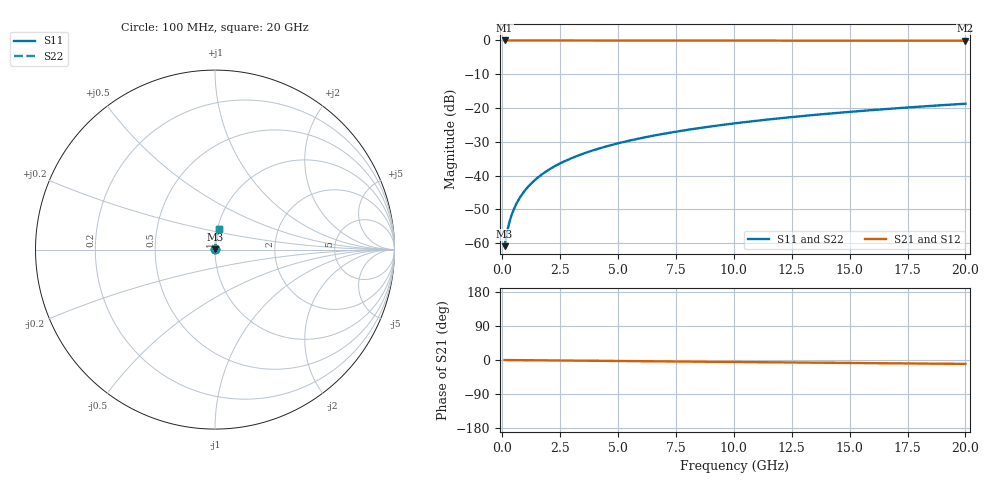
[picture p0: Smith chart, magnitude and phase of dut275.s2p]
! Touchstone file exported from HFSS 2026.1.0
!  File:  C:/ffzhzh/LocalFiles/Ansys_Project_Files/temp_train_TMRDL_275_1782985243_42984.aedt
!  Generated:  05:41:56 PM Jul  2, 2026
!  Design:  TMRDL
!  Project:  temp_train_TMRDL_275_1782985243_42984
! Variables:
!  h_bsmrdl = 2um
!  h_ox = 20um
!  h_rdl = 5um
!  h_sub = 80um
!  h_tmrdl = 4.46um
!  h_tsv = 80um
!  h_via = 3um
!  l_bsmrdl = 300um
!  l_sub = 507.86um
!  l_tmrdl = 107.86um
!  m_sub = 200um
!  pitch = 46.78um
!  r_tsv = 6um
!  s_tmrdl = 10um
!  w_bsmrdl = 18um
!  w_sub = 500um
!  w_tmrdl = 17.91um
!  x_tsv_center1 = 116.815um
!  x_tsv_center2 = 434.815um
!  x_tsv_center3 = 560.585um
!  x_tsv_center4 = 878.585um
!  x_tsv_center5 = 1004.355um
!  x_tsv_center6 = 1322.355um
# GHz S MA R 50.000000
! Terminal data exported
! Port[1] = TM_RDL1_1_T1
! Port[2] = TM_RDL1_1_T2
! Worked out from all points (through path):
!   200 points, 100 MHz to 20 GHz, reference 50 ohm
!   highest |S21| = -0.01 dB at 100 MHz (marker M1); lowest = -0.1 dB at 20 GHz (marker M2)
!   group delay of S21, straight-line fit = 1.43 ps
!   lowest |S11| = -60.8 dB at 100 MHz (marker M3), VSWR 1.00, Z = 50.1 + j0.0646 ohm
!   |S11| at or under -10 dB: start of sweep to end of sweep
!   |S22| runs from -60.8 to -18.7 dB; largest |S21 - S12| = 2.3e-15
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0.1  0.000907 45.3  0.9994 -0.1  0.9994 -0.1  0.000907 45.3
! Gamma 0 0 0 0
! Port Impedance 50 0 50 0
0.2  0.00144 62.5  0.9993 -0.1  0.9993 -0.1  0.00144 62.5
0.3  0.002018 69.9  0.9993 -0.2  0.9993 -0.2  0.002018 69.9
0.4  0.002605 74.0  0.9993 -0.2  0.9993 -0.2  0.002605 74.0
0.5  0.003196 76.5  0.9993 -0.3  0.9993 -0.3  0.003196 76.5
0.6  0.003789 78.4  0.9992 -0.3  0.9992 -0.3  0.003789 78.4
0.8  0.004981 80.7  0.9992 -0.4  0.9992 -0.4  0.004981 80.7
1.1  0.006779 82.7  0.9992 -0.6  0.9992 -0.6  0.006779 82.7
1.5  0.009187 84.0  0.9991 -0.8  0.9991 -0.8  0.009187 84.0
1.8  0.01099 84.6  0.9991 -1.0  0.9991 -1.0  0.01099 84.6
2.1  0.0128 84.9  0.999 -1.1  0.999 -1.1  0.0128 84.9
2.7  0.01641 85.2  0.9989 -1.4  0.9989 -1.4  0.01641 85.2
3.5  0.0212 85.2  0.9987 -1.9  0.9987 -1.9  0.0212 85.2
4.2  0.02536 85.1  0.9985 -2.2  0.9985 -2.2  0.02536 85.1
5  0.0301 84.8  0.9982 -2.6  0.9982 -2.6  0.0301 84.8
5.9  0.0354 84.5  0.9979 -3.1  0.9979 -3.1  0.0354 84.5
6.8  0.04066 84.1  0.9976 -3.6  0.9976 -3.6  0.04066 84.1
8.3  0.04939 83.5  0.9969 -4.4  0.9969 -4.4  0.04939 83.5
10.1  0.05979 82.7  0.9961 -5.3  0.9961 -5.3  0.05979 82.7
13.4  0.07872 81.3  0.9945 -7.0  0.9945 -7.0  0.07872 81.3
16.7  0.09747 79.8  0.9925 -8.7  0.9925 -8.7  0.09747 79.8
20  0.116 78.2  0.9903 -10.3  0.9903 -10.3  0.116 78.2
